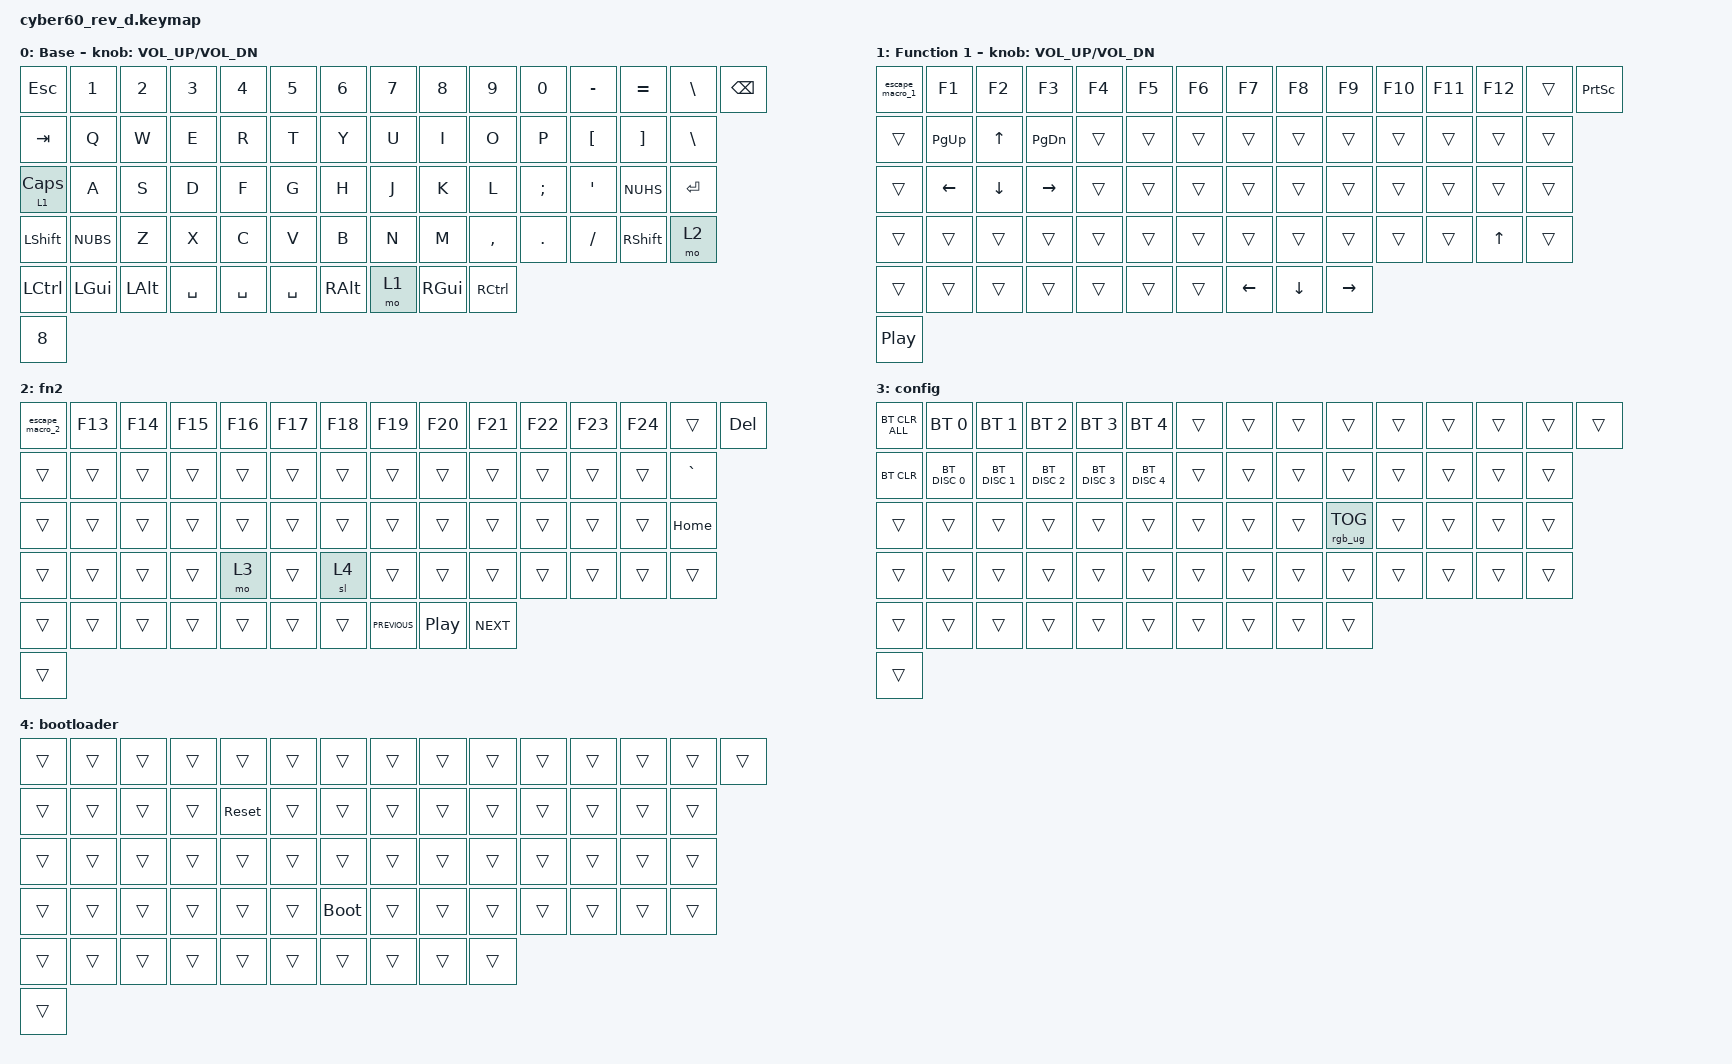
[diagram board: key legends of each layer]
#include <behaviors.dtsi>
#include <dt-bindings/zmk/bt.h>
#include <dt-bindings/zmk/keys.h>
#include <dt-bindings/zmk/rgb.h>

#define FN1 1

/ {
    macros {
        escape_macro_1: clip {
            compatible = "zmk,behavior-macro";
            #binding-cells = <0>;
            bindings = <&kp RC(F24)>;
            label = "CLIP";
        };

        escape_macro_2: escape_macro_2 {
            compatible = "zmk,behavior-macro";
            #binding-cells = <0>;
            bindings = <&kp RC(F23)>;
            label = "ESCAPE_MACRO_2";
        };
    };

    keymap {
        compatible = "zmk,keymap";

        default_layer {
            // Base layer
            // ------------------------------------------------------------------------------------------
            // | ESC |  1  |  2  |  3  |  4  |  5  |  6  |  7  |  8  |  9  |  0  |  -  |  =  | "\" |BKSP|
            // |  TAB |  Q  |  W  |  E  |  R  |  T  |  Y  |  U  |  I  |  O  |  P  |  [  |  ]  |   "\"   |
            // | CAPS  |  A  |  S  |  D  |  F  |  G  |  H  |  J  |  K  |  L  |  ;  |  '  |NUHS| ENTER   |
            // | SHIFT |NUBS| Z |  X  |  C  |  V  |  B  |  N  |  M  |  ,  |  .  |  /  |    Shift   | FN |
            // |  LCTL  |  LWIN  |  LALT  | SPACE  | SPACE |    SPACE   |  RALT | FN  |   RWIN  | RCTRL |
            // | Rotary | (<-- Rotary switch) ----------------------------------------------------------- 

            display-name = "Base";
            bindings = <
&kp ESC         &kp N1    &kp N2    &kp N3     &kp N4     &kp N5     &kp N6    &kp N7  &kp N8    &kp N9     &kp N0    &kp MINUS  &kp EQUAL  &kp BACKSLASH  &kp BACKSPACE
&kp TAB         &kp Q     &kp W     &kp E      &kp R      &kp T      &kp Y     &kp U   &kp I     &kp O      &kp P     &kp LBKT   &kp RBKT   &kp BACKSLASH
&lt 1 CAPSLOCK  &kp A     &kp S     &kp D      &kp F      &kp G      &kp H     &kp J   &kp K     &kp L      &kp SEMI  &kp SQT    &kp NUHS   &kp RET
&kp LSHFT       &kp NUBS  &kp Z     &kp X      &kp C      &kp V      &kp B     &kp N   &kp M     &kp COMMA  &kp DOT   &kp FSLH   &kp RSHFT  &mo 2
&kp LCTRL       &kp LGUI  &kp LALT  &kp SPACE  &kp SPACE  &kp SPACE  &kp RALT  &mo 1   &kp RGUI  &kp RCTRL
&kp N8
            >;

            sensor-bindings = <&inc_dec_kp C_VOL_UP C_VOL_DN>;
        };

        fn_layer_0 {
            display-name = "Function 1";

            // Function layer
            // ------------------------------------------------------------------------------------------
            // | RESET | F1 |  F2 |  F3 |  F4 |  F5 |  F6 |  F7 |  F8 |  F9 | F10 | F11 | F12 |TRNS | DEL |
            // |BT_CLR |TRNS | UP  | BT0 | BT1 | BT2 | BT3 | BT4 | TRNS | TRNS | TRNS | TRNS | TRNS | TRNS|
            // | BOOTL  |LEFT |DOWN |RIGHT|TRNS |TRNS |TRNS | TRNS| TRNS |TRNS| TRNS |TRNS | TRNS | TRNS  |
            // |S_UNLK|TRNS|TRNS|TRNS|TRNS | TRNS| TRNS | TRNS |  TRNS| TRNS | TRNS| TRNS |   TRNS   |TRNS|
            // |  TRNS | TRNS | TRNS |      TRNS      | TRNS |     TRNS     |  TRNS |  TRNS | TRNS | TRNS |
            // | Rotary | (<-- Rotary switch) ----------------------------------------------------------- 

            bindings = <
&escape_macro_1  &kp F1       &kp F2    &kp F3         &kp F4  &kp F5  &kp F6  &kp F7    &kp F8    &kp F9     &kp F10  &kp F11  &kp F12       &trans  &kp PRINTSCREEN
&trans           &kp PAGE_UP  &kp UP    &kp PAGE_DOWN  &trans  &trans  &trans  &trans    &trans    &trans     &trans   &trans   &trans        &trans
&trans           &kp LEFT     &kp DOWN  &kp RIGHT      &trans  &trans  &trans  &trans    &trans    &trans     &trans   &trans   &trans        &trans
&trans           &trans       &trans    &trans         &trans  &trans  &trans  &trans    &trans    &trans     &trans   &trans   &kp UP_ARROW  &trans
&trans           &trans       &trans    &trans         &trans  &trans  &trans  &kp LEFT  &kp DOWN  &kp RIGHT
&kp C_PP
            >;

            sensor-bindings = <&inc_dec_kp C_VOL_UP C_VOL_DN>;
        };

        fn2 {
            bindings = <
&escape_macro_2  &kp F13  &kp F14  &kp F15  &kp F16  &kp F17  &kp F18  &kp F19         &kp F20           &kp F21     &kp F22  &kp F23  &kp F24  &trans     &kp DELETE
&trans           &trans   &trans   &trans   &trans   &trans   &trans   &trans          &trans            &trans      &trans   &trans   &trans   &kp GRAVE
&trans           &trans   &trans   &trans   &trans   &trans   &trans   &trans          &trans            &trans      &trans   &trans   &trans   &kp HOME
&trans           &trans   &trans   &trans   &mo 3    &trans   &sl 4    &trans          &trans            &trans      &trans   &trans   &trans   &trans
&trans           &trans   &trans   &trans   &trans   &trans   &trans   &kp C_PREVIOUS  &kp C_PLAY_PAUSE  &kp C_NEXT
&trans
            >;
        };

        config {
            bindings = <
&bt BT_CLR_ALL  &bt BT_SEL 0   &bt BT_SEL 1   &bt BT_SEL 2   &bt BT_SEL 3   &bt BT_SEL 4   &trans  &trans  &trans  &trans           &trans  &trans  &trans  &trans  &trans
&bt BT_CLR      &bt BT_DISC 0  &bt BT_DISC 1  &bt BT_DISC 2  &bt BT_DISC 3  &bt BT_DISC 4  &trans  &trans  &trans  &trans           &trans  &trans  &trans  &trans
&trans          &trans         &trans         &trans         &trans         &trans         &trans  &trans  &trans  &rgb_ug RGB_TOG  &trans  &trans  &trans  &trans
&trans          &trans         &trans         &trans         &trans         &trans         &trans  &trans  &trans  &trans           &trans  &trans  &trans  &trans
&trans          &trans         &trans         &trans         &trans         &trans         &trans  &trans  &trans  &trans
&trans
            >;
        };

        bootloader {
            bindings = <
&trans  &trans  &trans  &trans  &trans      &trans  &trans       &trans  &trans  &trans  &trans  &trans  &trans  &trans  &trans
&trans  &trans  &trans  &trans  &sys_reset  &trans  &trans       &trans  &trans  &trans  &trans  &trans  &trans  &trans
&trans  &trans  &trans  &trans  &trans      &trans  &trans       &trans  &trans  &trans  &trans  &trans  &trans  &trans
&trans  &trans  &trans  &trans  &trans      &trans  &bootloader  &trans  &trans  &trans  &trans  &trans  &trans  &trans
&trans  &trans  &trans  &trans  &trans      &trans  &trans       &trans  &trans  &trans
&trans
            >;
        };
    };
};
